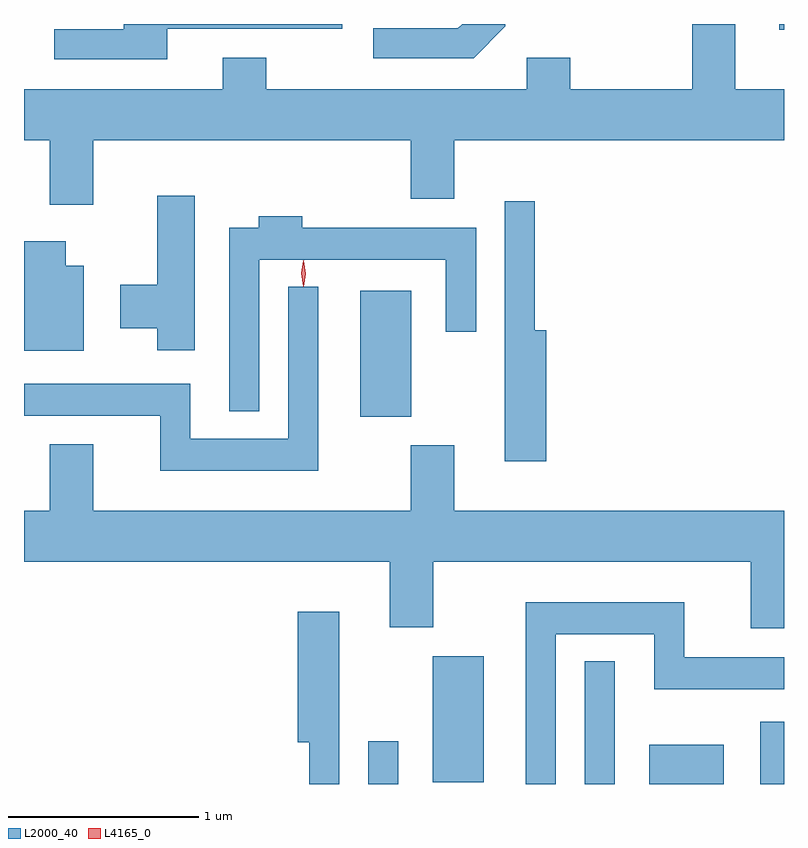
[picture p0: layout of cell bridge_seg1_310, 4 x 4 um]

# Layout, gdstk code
import gdstk
lib = gdstk.Library(unit=1e-6, precision=1e-09)
def R(c, l, rs):  # rectangles x0, y0, x1, y1
    for r in rs: c.add(gdstk.rectangle(r[:2], r[2:], *l))
def P(c, l, *ps):  # polygons
    for p in ps: c.add(gdstk.Polygon(p, *l))
L2000_40 = (2000, 40)
L4165_0 = (4165, 0)

bridge_seg1_310 = lib.new_cell('bridge_seg1_310')
R(bridge_seg1_310, L2000_40, [(887.956,873.987,888.114,874.213), (889.096,873.987,889.254,874.633), (889.436,873.987,889.829,874.194), (890.021,873.987,890.145,874.314), (888.296,873.996,888.564,874.659), (887.916,875.921,888.184,876.584), (890.121,877.956,890.145,877.987)])
P(bridge_seg1_310, L2000_40, [(888.679,877.974),(888.679,877.987),(888.452,877.987),(888.429,877.964),(887.983,877.964),(887.983,877.806),(888.512,877.806)],
  [(886.899,877.961),(887.819,877.961),(887.819,877.987),(886.671,877.987),(886.671,877.959),(886.303,877.959),(886.303,877.801),(886.899,877.801)],
  [(889.661,877.987),(889.661,877.644),(889.019,877.644),(889.019,877.809),(888.791,877.809),(888.791,877.644),(887.419,877.644),(887.419,877.809),(887.191,877.809),(887.191,877.644),(886.145,877.644),(886.145,877.376),(886.281,877.376),(886.281,877.036),(886.509,877.036),(886.509,877.376),(888.181,877.376),(888.181,877.066),(888.409,877.066),(888.409,877.376),(890.145,877.376),(890.145,877.644),(889.889,877.644),(889.889,877.987)],
  [(887.044,877.084),(886.846,877.084),(886.846,876.614),(886.651,876.614),(886.651,876.386),(886.846,876.386),(886.846,876.271),(887.044,876.271)],
  [(888.894,876.374),(888.834,876.374),(888.834,877.053),(888.676,877.053),(888.676,875.686),(888.894,875.686)],
  [(887.384,876.746),(888.366,876.746),(888.366,876.368),(888.524,876.368),(888.524,876.914),(887.609,876.914),(887.609,876.974),(887.381,876.974),(887.381,876.914),(887.226,876.914),(887.226,875.948),(887.384,875.948)],
  [(886.459,876.714),(886.364,876.714),(886.364,876.844),(886.145,876.844),(886.145,876.266),(886.459,876.266)],
  [(887.694,876.603),(887.536,876.603),(887.536,875.804),(887.019,875.804),(887.019,876.094),(886.145,876.094),(886.145,875.926),(886.861,875.926),(886.861,875.636),(887.694,875.636)],
  [(888.299,875.156),(889.971,875.156),(889.971,874.806),(890.145,874.806),(890.145,875.424),(888.409,875.424),(888.409,875.769),(888.181,875.769),(888.181,875.424),(886.509,875.424),(886.509,875.774),(886.281,875.774),(886.281,875.424),(886.145,875.424),(886.145,875.156),(888.071,875.156),(888.071,874.811),(888.299,874.811)],
  [(888.944,874.776),(889.461,874.776),(889.461,874.486),(890.145,874.486),(890.145,874.654),(889.619,874.654),(889.619,874.944),(888.786,874.944),(888.786,873.987),(888.944,873.987)],
  [(887.804,874.894),(887.586,874.894),(887.586,874.206),(887.646,874.206),(887.646,873.987),(887.804,873.987)])
P(bridge_seg1_310, L4165_0, [(887.616,876.604),(887.607,876.673),(887.616,876.742),(887.617,876.743),(887.618,876.742),(887.627,876.673),(887.618,876.604),(887.617,876.604)],
  [(887.614,876.607),(887.614,876.608),(887.604,876.674),(887.614,876.74),(887.614,876.741),(887.615,876.74),(887.624,876.674),(887.615,876.608)])

lib.write_gds('bridge_seg1_310.gds')
